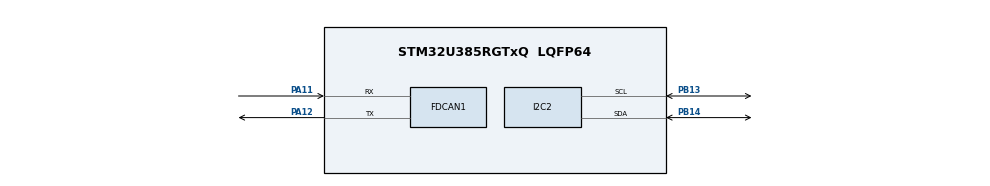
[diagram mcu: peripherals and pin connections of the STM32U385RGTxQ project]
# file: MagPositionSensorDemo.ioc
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CORTEX_M33_NS.userName=CORTEX_M33
FDCAN1.AutoRetransmission=ENABLE
FDCAN1.CalculateBaudRateNominal=99173
FDCAN1.CalculateTimeBitNominal=10083
FDCAN1.CalculateTimeQuantumNominal=83.33333333333333
FDCAN1.DataSyncJumpWidth=3
FDCAN1.DataTimeSeg1=8
FDCAN1.DataTimeSeg2=3
FDCAN1.NominalPrescaler=1
FDCAN1.NominalSyncJumpWidth=30
FDCAN1.NominalTimeSeg1=90
FDCAN1.NominalTimeSeg2=30
FDCAN1.StdFiltersNbr=1
FDCAN1.TransmitPause=ENABLE
I2C2.Timing=0x40000A0B
Mcu.Family=STM32U3
Mcu.Name=STM32U385RGTxQ
Mcu.Package=LQFP64
NVIC.PriorityGroup=NVIC_PRIORITYGROUP_4
PA11.Mode=FDCAN_Activate
PA11.Signal=FDCAN1_RX
PA12.Mode=FDCAN_Activate
PA12.Signal=FDCAN1_TX
PB13.Mode=I2C
PB13.Signal=I2C2_SCL
PB14.Mode=I2C
PB14.Signal=I2C2_SDA
ProjectManager.HeapSize=0x200
ProjectManager.StackSize=0x400
ProjectManager.TargetToolchain=STM32CubeIDE
RCC.ADCFreq_Value=12000000
RCC.AHBFreq_Value=12000000
RCC.APB1Freq_Value=12000000
RCC.APB1TimFreq_Value=12000000
RCC.APB2Freq_Value=12000000
RCC.APB2TimFreq_Value=12000000
RCC.APB3Freq_Value=12000000
RCC.CortexFreq_Value=1500000
RCC.HCLKFreq_Value=12000000
RCC.HSE_VALUE=16000000
RCC.HSI48_VALUE=48000000
RCC.HSI_VALUE=16000000
RCC.LSE_VALUE=32768
RCC.LSIDIV_VALUE=32000
RCC.SYSCLKFreq_VALUE=12000000
RCC.USBFreq_Value=12000000
VP_ICACHE_VS_ICACHE.Mode=DefaultMode
VP_MEMORYMAP_VS_MEMORYMAP.Mode=CurAppReg
VP_PWR_VS_DBSignals.Mode=DisableDeadBatterySignals
VP_PWR_VS_LPOM.Mode=PowerOptimisation
VP_PWR_VS_SECSignals.Mode=Security/Privilege
board=custom

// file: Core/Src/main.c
/* USER CODE BEGIN Header */
/**
  ******************************************************************************
  * @file           : main.c
  * @brief          : Main program body
  ******************************************************************************
  * @attention
  *
  * Copyright (c) 2026 STMicroelectronics.
  * All rights reserved.
  *
  * This software is licensed under terms that can be found in the LICENSE file
  * in the root directory of this software component.
  * If no LICENSE file comes with this software, it is provided AS-IS.
  *
  ******************************************************************************
  	START
	  ↓
	sensor address + WRITE
	  ↓
	register address
	  ↓
	REPEATED START
	  ↓
	sensor address + READ
	  ↓
	data bytes
	  ↓
	 STOP

  */
/* USER CODE END Header */
#include "main.h"

/* USER CODE BEGIN Includes */
#include <stdio.h>
#include <ssd1306.h>
#include <ah4931q.h>
#include <ssd1306_fonts.h>
/* USER CODE END Includes */

/* USER CODE BEGIN PD */
#define TX_ID          (0x111)   /* TX CAN message identifier    */
#define RX_ID          (0x111)   /* RX CAN message identifier    */
/* USER CODE END PD */

/* USER CODE BEGIN PM */
#ifndef COUNTOF
#define COUNTOF(BUFFER) (sizeof((BUFFER)) / sizeof(*(BUFFER)))
#endif
/* USER CODE END PM */

FDCAN_HandleTypeDef hfdcan1;

I2C_HandleTypeDef hi2c2;

/* USER CODE BEGIN PV */

#define SENSOR_PERIOD_MS   5
#define DISPLAY_PERIOD_MS  25
#define CAN_PERIOD_MS      200

FDCAN_RxHeaderTypeDef rxHeader;
FDCAN_TxHeaderTypeDef txHeader;
uint8_t rxData[16U];

/*
    Byte 0: gear enum + validity bits
	Byte 1: rolling counter
	Byte 2: checksum / CRC
	Bytes 3-7: reserved or other status
*/
static uint8_t txData[] = { 0x00, 0x00, 0x54, 0x76, 0x98, 0x00, 0x11, 0x22 };

/* USER CODE END PV */

void SystemClock_Config(void);
static void MX_GPIO_Init(void);
static void MX_I2C2_Init(void);
static void MX_FDCAN1_Init(void);
static void MX_ICACHE_Init(void);
/* USER CODE BEGIN PFP */
/* Private function prototypes -----------------------------------------------*/
//static uint16_t Buffercmp(uint8_t *pBuffer1, uint8_t *pBuffer2, uint16_t BufferLength);
/* USER CODE END PFP */

/* USER CODE BEGIN 0 */
int _write(int file, char *ptr, int len)
{
    for (int i = 0; i < len; i++)
    {
    	ITM_SendChar(*ptr++);
    }
    return len;
}

void printI2Cdevices(void)
{
	for (uint8_t addr = 1; addr < 128; addr++)
	{
	    if (HAL_I2C_IsDeviceReady(&hi2c2, addr << 1, 1, 10) == HAL_OK)
	    {
	    	printf("I2C device found at 0x%02X\r\n", addr);
	    }
	}
	return;
}

typedef enum
{
    SCREEN_RAW,
    SCREEN_POSITION,
    SCREEN_STATUS
} ScreenMode_t;

void UpdateGearPosition(SystemState_t *system_state)
{
	system_state -> gear = GEAR_DRIVE; //(3)GEAR_DRIVE
}

static void DrawRawScreen(const SystemState_t *state)
{
    char buf[24];

    ssd1306_SetCursor(0, 0);
    ssd1306_WriteString("RAW", Font_11x18, White);

    snprintf(buf, sizeof(buf), "X:%+5d", state->x);
    ssd1306_SetCursor(0, 22);
    ssd1306_WriteString(buf, Font_7x10, White);

    snprintf(buf, sizeof(buf), "Y:%+5d", state->y);
    ssd1306_SetCursor(0, 34);
    ssd1306_WriteString(buf, Font_7x10, White);

    snprintf(buf, sizeof(buf), "Z:%+5d", state->z);
    ssd1306_SetCursor(0, 46);
    ssd1306_WriteString(buf, Font_7x10, White);
}

static void DrawPositionScreen(const SystemState_t *state)
{
    ssd1306_SetCursor(0, 0);
    ssd1306_WriteString("POSITION", Font_7x10, White);

    switch (state->gear)
    {
        case GEAR_PARK:
            ssd1306_SetCursor(55, 25);
            ssd1306_WriteString("P", Font_16x26, White);
            break;

        case GEAR_REVERSE:
        	ssd1306_SetCursor(55, 25);
			ssd1306_WriteString("R", Font_16x26, White);
            break;

        case GEAR_NEUTRAL:
        	ssd1306_SetCursor(55, 25);
			ssd1306_WriteString("N", Font_16x26, White);
            break;

        case GEAR_DRIVE:
        	ssd1306_SetCursor(55, 25);
			ssd1306_WriteString("D", Font_16x26, White);
            break;

        case GEAR_INVALID:
			ssd1306_SetCursor(45, 25);
			ssd1306_WriteString("X", Font_16x26, White);
			break;

        default:
            ssd1306_SetCursor(45, 25);
            ssd1306_WriteString("?", Font_16x26, White);
            break;
    }
}

static void DrawStatusScreen(const SystemState_t *state)
{
    char buf[24];

    ssd1306_SetCursor(0, 0);
    ssd1306_WriteString("STATUS", Font_7x10, White);

    snprintf(buf, sizeof(buf),
             "SNS: %s",
             state->sensor_ok ? "OK" : "ERR");

    ssd1306_SetCursor(0, 16);
    ssd1306_WriteString(buf, Font_7x10, White);

    snprintf(buf, sizeof(buf),
             "CAN: %s",
             state->can_ok ? "OK" : "ERR");

    ssd1306_SetCursor(0, 28);
    ssd1306_WriteString(buf, Font_7x10, White);
}

static void DrawErrorScreen()
{
	char string[] = "ERROR";
    ssd1306_SetCursor(0, 16);
    ssd1306_WriteString(string, Font_7x10, White);
}

void UpdateDisplay(const SystemState_t *state, ScreenMode_t mode)
{
    ssd1306_Fill(Black);

    switch (mode)
    {
        case SCREEN_RAW:
            DrawRawScreen(state);
            break;

        case SCREEN_POSITION:
            DrawPositionScreen(state);
            break;

        case SCREEN_STATUS:
            DrawStatusScreen(state);
            break;

        default:
            DrawErrorScreen();
            break;
    }
    ssd1306_UpdateScreen();
}

/* USER CODE END 0 */

int main(void)
{

  /* MCU Configuration--------------------------------------------------------*/

  /* Reset of all peripherals, Initializes the Flash interface and the Systick. */
  HAL_Init();

  /* Configure the system clock */
  SystemClock_Config();

  /* Initialize all configured peripherals */
  MX_GPIO_Init();
  MX_I2C2_Init();
  MX_FDCAN1_Init();
  MX_ICACHE_Init();
  /* USER CODE BEGIN 2 */
	/* Configure LD2 */
	BSP_LED_Init(LD2);
	BSP_PB_Init(BUTTON_USER,BUTTON_MODE_GPIO); 				/* Configure User push-button */

	MX_GPIO_Init();

	while (HAL_I2C_GetState(&hi2c2) != HAL_I2C_STATE_READY) {}

//  uint32_t clock = HAL_RCC_GetHCLKFreq();

	/*
	int16_t x;
    int16_t y;
    int16_t z;
    Gear_t gear; enum: (0)GEAR_PARK, (1)GEAR_REVERSE, (2)GEAR_NEUTRAL, (3)GEAR_DRIVE, (4)GEAR_INVALID
    uint8_t sensor_ok;
	uint8_t can_ok;
	uint32_t fault_flags;
	 */
	SystemState_t system_state = {0};
	ScreenMode_t  screen_mode  = SCREEN_RAW; //(0)SCREEN_RAW, (1)SCREEN_POSITION, (2)SCREEN_STATUS
	printI2Cdevices();
	ssd1306_Init();
	if (AH4931Q_Init(&hi2c2)) { Error_Handler();}  // returns HAL status
	HAL_Delay(100);
	// Press button to initialize AH4931Q I2C peripheral
	printf("Screen and sensor initialized. Press user button to start sampling\r\n");
	while (BSP_PB_GetState(BUTTON_USER) != GPIO_PIN_SET  ) {}
	while (BSP_PB_GetState(BUTTON_USER) != GPIO_PIN_RESET) {}
	uint32_t last_sensor  = HAL_GetTick();
	uint32_t last_display = HAL_GetTick();
	uint32_t last_can     = HAL_GetTick();
	uint32_t now 		  = HAL_GetTick();
//	uint32_t last_can = HAL_GetTick();

	/* Configure reception filter to Rx FIFO 0 */
	  FDCAN_FilterTypeDef        sFilterConfig;
	  sFilterConfig.IdType       = FDCAN_STANDARD_ID;
	  sFilterConfig.FilterIndex  = 0U;
	  sFilterConfig.FilterType   = FDCAN_FILTER_MASK;
	  sFilterConfig.FilterConfig = FDCAN_FILTER_TO_RXFIFO0;
	  sFilterConfig.FilterID1    = TX_ID;
	  sFilterConfig.FilterID2    = 0x7FF;
	  if (HAL_FDCAN_ConfigFilter(&hfdcan1, &sFilterConfig) != HAL_OK) { Error_Handler(); }

	  /**
	    *  Configure global filter:
	    *    - Filter all remote frames with STD and EXT ID
	    *    - Reject non matching frames with STD ID and EXT ID
	    */
	  if (HAL_FDCAN_ConfigGlobalFilter(&hfdcan1, FDCAN_REJECT, FDCAN_REJECT, FDCAN_FILTER_REMOTE, FDCAN_FILTER_REMOTE) != HAL_OK) { Error_Handler(); }

	  /* Activate Rx FIFO 0 new message notification */
	  if (HAL_FDCAN_ActivateNotification(&hfdcan1, FDCAN_IT_RX_FIFO0_NEW_MESSAGE, 0U) != HAL_OK) { Error_Handler(); }

	  /* Prepare Tx message Header */
	  txHeader.Identifier          = TX_ID;
	  txHeader.IdType              = FDCAN_STANDARD_ID;
	  txHeader.TxFrameType         = FDCAN_DATA_FRAME;
	  txHeader.DataLength          = FDCAN_DLC_BYTES_8;
	  txHeader.ErrorStateIndicator = FDCAN_ESI_ACTIVE;
	  txHeader.BitRateSwitch       = FDCAN_BRS_OFF;
	  txHeader.FDFormat            = FDCAN_CLASSIC_CAN;
	  txHeader.TxEventFifoControl  = FDCAN_NO_TX_EVENTS;
	  txHeader.MessageMarker       = 0U;

	  if (HAL_FDCAN_Start(&hfdcan1) != HAL_OK) { Error_Handler(); } /* Start FDCAN controller */

  /* USER CODE END 2 */

  /* Infinite loop */
  /* USER CODE BEGIN WHILE */

	while(1) ///////////////////////////////////////////////////////////////////////////////////////////
	{
		now = HAL_GetTick();
		if ((now - last_sensor) >= SENSOR_PERIOD_MS)
		{
			if(ReadHallSensor(&system_state) != HAL_OK) { Error_Handler();}
			UpdateGearPosition(&system_state);
			last_sensor = HAL_GetTick();
		}

	    if ((now - last_can) >= CAN_PERIOD_MS)
	    {
			/* 	txData:
			    Byte 0: gear enum + validity bits
				Byte 1: rolling counter
				Byte 2: checksum / CRC
				Bytes 3-7: reserved or other status
			*/
	    	txData[1]++;
	    	txData[1] &= 0x0F;
	    	HAL_FDCAN_AddMessageToTxFifoQ(&hfdcan1, &txHeader, txData); //  SendCANStatus(&system_state);
	        last_can = now;
	    }

		if ((now - last_display) >= DISPLAY_PERIOD_MS)
		{
//			printf("display start\r\n");	//DEBUG
			UpdateDisplay(&system_state, screen_mode);
			last_display = HAL_GetTick();
//			printf("display done\r\n");		//DEBUG
		}
	}
    /* USER CODE END WHILE */

}

void SystemClock_Config(void)
{
  RCC_OscInitTypeDef RCC_OscInitStruct = {0};
  RCC_ClkInitTypeDef RCC_ClkInitStruct = {0};

  /** Configure the System Power Supply
  */
  if (HAL_PWREx_ConfigSupply(PWR_SMPS_SUPPLY) != HAL_OK)
  {
    Error_Handler();
  }

  /** Configure the main internal regulator output voltage
  */
  if (HAL_PWREx_ControlVoltageScaling(PWR_REGULATOR_VOLTAGE_SCALE2) != HAL_OK)
  {
    Error_Handler();
  }

  /** Initializes the CPU, AHB and APB buses clocks
  */
  RCC_OscInitStruct.OscillatorType = RCC_OSCILLATORTYPE_MSIS;
  RCC_OscInitStruct.MSISState = RCC_MSI_ON;
  RCC_OscInitStruct.MSISSource = RCC_MSI_RC0;
  RCC_OscInitStruct.MSISDiv = RCC_MSI_DIV8;
  if (HAL_RCC_OscConfig(&RCC_OscInitStruct) != HAL_OK)
  {
    Error_Handler();
  }

  /** Initializes the CPU, AHB and APB buses clocks
  */
  RCC_ClkInitStruct.ClockType = RCC_CLOCKTYPE_HCLK|RCC_CLOCKTYPE_SYSCLK
                              |RCC_CLOCKTYPE_PCLK1|RCC_CLOCKTYPE_PCLK2
                              |RCC_CLOCKTYPE_PCLK3;
  RCC_ClkInitStruct.SYSCLKSource = RCC_SYSCLKSOURCE_MSIS;
  RCC_ClkInitStruct.AHBCLKDivider = RCC_SYSCLK_DIV1;
  RCC_ClkInitStruct.APB1CLKDivider = RCC_HCLK_DIV1;
  RCC_ClkInitStruct.APB2CLKDivider = RCC_HCLK_DIV1;
  RCC_ClkInitStruct.APB3CLKDivider = RCC_HCLK_DIV1;

  if (HAL_RCC_ClockConfig(&RCC_ClkInitStruct, FLASH_LATENCY_0) != HAL_OK)
  {
    Error_Handler();
  }
}

static void MX_FDCAN1_Init(void)
{

  hfdcan1.Instance = FDCAN1;
  hfdcan1.Init.ClockDivider = FDCAN_CLOCK_DIV1;
  hfdcan1.Init.FrameFormat = FDCAN_FRAME_CLASSIC;
  hfdcan1.Init.Mode = FDCAN_MODE_NORMAL;
  hfdcan1.Init.AutoRetransmission = DISABLE;
  hfdcan1.Init.TransmitPause = ENABLE;
  hfdcan1.Init.ProtocolException = DISABLE;
  hfdcan1.Init.NominalPrescaler = 1;
  hfdcan1.Init.NominalSyncJumpWidth = 30;
  hfdcan1.Init.NominalTimeSeg1 = 90;
  hfdcan1.Init.NominalTimeSeg2 = 30;
  hfdcan1.Init.DataPrescaler = 1;
  hfdcan1.Init.DataSyncJumpWidth = 3;
  hfdcan1.Init.DataTimeSeg1 = 8;
  hfdcan1.Init.DataTimeSeg2 = 3;
  hfdcan1.Init.StdFiltersNbr = 1;
  hfdcan1.Init.ExtFiltersNbr = 0;
  hfdcan1.Init.TxFifoQueueMode = FDCAN_TX_FIFO_OPERATION;
  if (HAL_FDCAN_Init(&hfdcan1) != HAL_OK)
  {
    Error_Handler();
  }

}

static void MX_I2C2_Init(void)
{

  hi2c2.Instance = I2C2;
  hi2c2.Init.Timing = 0x40000A0B;
  hi2c2.Init.OwnAddress1 = 0;
  hi2c2.Init.AddressingMode = I2C_ADDRESSINGMODE_7BIT;
  hi2c2.Init.DualAddressMode = I2C_DUALADDRESS_DISABLE;
  hi2c2.Init.OwnAddress2 = 0;
  hi2c2.Init.OwnAddress2Masks = I2C_OA2_NOMASK;
  hi2c2.Init.GeneralCallMode = I2C_GENERALCALL_DISABLE;
  hi2c2.Init.NoStretchMode = I2C_NOSTRETCH_DISABLE;
  if (HAL_I2C_Init(&hi2c2) != HAL_OK)
  {
    Error_Handler();
  }

  /** Configure Analogue filter
  */
  if (HAL_I2CEx_ConfigAnalogFilter(&hi2c2, I2C_ANALOGFILTER_ENABLE) != HAL_OK)
  {
    Error_Handler();
  }

  /** Configure Digital filter
  */
  if (HAL_I2CEx_ConfigDigitalFilter(&hi2c2, 0) != HAL_OK)
  {
    Error_Handler();
  }

}

static void MX_ICACHE_Init(void)
{

  /** Enable instruction cache (default 2-ways set associative cache)
  */
  if (HAL_ICACHE_Enable() != HAL_OK)
  {
    Error_Handler();
  }

}

static void MX_GPIO_Init(void)
{

  /* GPIO Ports Clock Enable */
  __HAL_RCC_GPIOB_CLK_ENABLE();
  __HAL_RCC_GPIOA_CLK_ENABLE();

}

/* USER CODE BEGIN 4 */
//static uint16_t Buffercmp(uint8_t* pBuffer1, uint8_t* pBuffer2, uint16_t BufferLength)
//{
//  while (BufferLength--) {
//    if ((*pBuffer1) != *pBuffer2) {
//    	return BufferLength;
//    }
//    pBuffer1++;
//    pBuffer2++;
//  }
//  return 0;
//}
/* USER CODE END 4 */

void Error_Handler(void)
{
  __disable_irq();
  while(1){}
}
